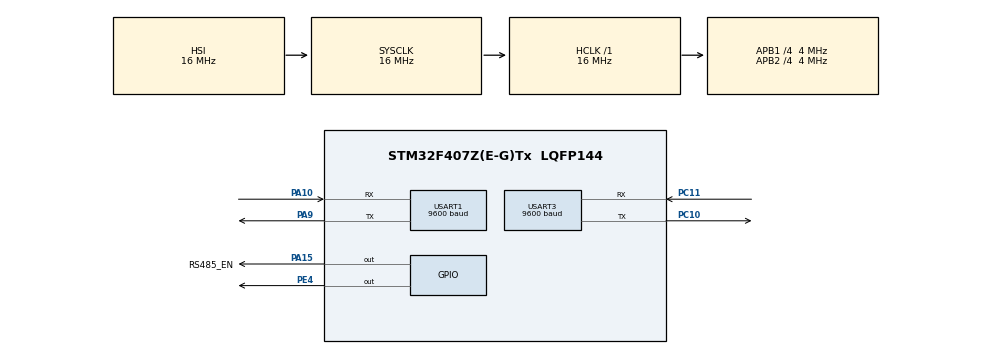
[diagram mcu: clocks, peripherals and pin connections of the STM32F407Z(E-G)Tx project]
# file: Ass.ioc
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Mcu.Family=STM32F4
Mcu.Name=STM32F407Z(E-G)Tx
Mcu.Package=LQFP144
NVIC.PriorityGroup=NVIC_PRIORITYGROUP_4
NVIC.TIM2_IRQn=true\:0\:0\:false\:false\:true\:true\:true\:true
NVIC.USART1_IRQn=true\:0\:0\:false\:false\:true\:true\:true\:true
NVIC.USART3_IRQn=true\:0\:0\:false\:false\:true\:true\:true\:true
PA10.Mode=Asynchronous
PA10.Signal=USART1_RX
PA13.Mode=Serial_Wire
PA13.Signal=SYS_JTMS-SWDIO
PA14.Mode=Serial_Wire
PA14.Signal=SYS_JTCK-SWCLK
PA15.GPIO_Label=RS485_EN
PA15.Signal=GPIO_Output
PA9.Mode=Asynchronous
PA9.Signal=USART1_TX
PC10.Mode=Asynchronous
PC10.Signal=USART3_TX
PC11.Mode=Asynchronous
PC11.Signal=USART3_RX
PE4.Signal=GPIO_Output
PH0-OSC_IN.Mode=HSE-External-Oscillator
PH0-OSC_IN.Signal=RCC_OSC_IN
PH1-OSC_OUT.Mode=HSE-External-Oscillator
PH1-OSC_OUT.Signal=RCC_OSC_OUT
ProjectManager.HeapSize=0x200
ProjectManager.StackSize=0x400
ProjectManager.TargetToolchain=STM32CubeIDE
RCC.AHBFreq_Value=16000000
RCC.APB1CLKDivider=RCC_HCLK_DIV4
RCC.APB1Freq_Value=4000000
RCC.APB1TimFreq_Value=8000000
RCC.APB2CLKDivider=RCC_HCLK_DIV4
RCC.APB2Freq_Value=4000000
RCC.APB2TimFreq_Value=8000000
RCC.CortexFreq_Value=16000000
RCC.HSE_VALUE=8000000
RCC.HSI_VALUE=16000000
RCC.LSE_VALUE=32768
RCC.SYSCLKFreq_VALUE=16000000
RCC.VCOOutputFreq_Value=192000000
TIM2.Period=9
TIM2.Prescaler=7999
USART1.BaudRate=9600
USART1.VirtualMode=VM_ASYNC
USART3.BaudRate=9600
USART3.VirtualMode=VM_ASYNC
VP_TIM2_VS_ClockSourceINT.Mode=Internal
board=custom

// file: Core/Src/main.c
/* USER CODE BEGIN Header */
/**
  ******************************************************************************
  * @file           : main.c
  * @brief          : Main program body
  ******************************************************************************
  * @attention
  *
  * Copyright (c) 2024 STMicroelectronics.
  * All rights reserved.
  *
  * This software is licensed under terms that can be found in the LICENSE file
  * in the root directory of this software component.
  * If no LICENSE file comes with this software, it is provided AS-IS.
  *
  ******************************************************************************
  */
/* USER CODE END Header */
#include "main.h"

/* USER CODE BEGIN Includes */
#include "modbus.h"
/* USER CODE END Includes */

TIM_HandleTypeDef htim2;

UART_HandleTypeDef huart1;
UART_HandleTypeDef huart3;

/* USER CODE BEGIN PV */

  int flagModbus_Send;
  int flagModbus_Receive;
  uint8_t dataSend[8];
  uint8_t dataReceive[9];
  uint8_t dataS[4];
  uint8_t dataR[5];

/* USER CODE END PV */

void SystemClock_Config(void);
static void MX_GPIO_Init(void);
static void MX_USART1_UART_Init(void);
static void MX_USART3_UART_Init(void);
static void MX_TIM2_Init(void);

int main(void)
{

  /* MCU Configuration--------------------------------------------------------*/

  /* Reset of all peripherals, Initializes the Flash interface and the Systick. */
  HAL_Init();

  /* Configure the system clock */
  SystemClock_Config();

  /* Initialize all configured peripherals */
  MX_GPIO_Init();
  MX_USART1_UART_Init();
  MX_USART3_UART_Init();
  MX_TIM2_Init();
  /* USER CODE BEGIN 2 */
  //modbus_tx_data();

  Modbus_Receive(&huart1, dataSend, 8);

  /* USER CODE END 2 */

  /* Infinite loop */
  /* USER CODE BEGIN WHILE */
  HAL_GPIO_WritePin(GPIOE, GPIO_PIN_4, 1);

//  uint8_t data448[8] = {0x01, 0x03, 0, 0, 0, 2, 0xC4, 0xB};
//  HAL_GPIO_WritePin(GPIOA, GPIO_PIN_15, 1);
//  HAL_UART_Transmit(&huart3, data448, 8, 100);
//  HAL_GPIO_WritePin(GPIOA, GPIO_PIN_15, 0);
  while (1)
  {
	  if (flagModbus_Send) {
	  //	  		  HAL_GPIO_TogglePin(GPIOE, GPIO_PIN_4);
	  	  		  //uint8_t * dataS = malloc ((sizeof(dataSend) / sizeof(dataSend[0]) - 4) * sizeof(uint8_t));
	  	  		  for (int idx = 2; idx < sizeof(dataSend)/sizeof(dataSend[0]) - 2; idx++) {
	  	  			  dataS[idx - 2] = dataSend[idx];
	  	  		  }
//	  	  		  Modbus_Transmit(&huart1, dataSend[0], dataSend[1], dataS, (sizeof(dataSend) / sizeof(dataSend[0]) - 4));

	  	  		  HAL_GPIO_WritePin(GPIOA, GPIO_PIN_15, 1);
	  	  		  Modbus_Transmit(&huart3, dataSend[0], dataSend[1], dataS, (sizeof(dataSend) / sizeof(dataSend[0]) - 4));
	  	  		  HAL_GPIO_WritePin(GPIOA, GPIO_PIN_15, 0);

	  	  		  Modbus_Receive(&huart3, dataReceive, 9);
	  	  		  //free (dataS);
	  	  		  flagModbus_Send = 0;
	  	  	  }
	  	  	  if (flagModbus_Receive) {
	  	  		  HAL_GPIO_TogglePin(GPIOE, GPIO_PIN_4);
	  	  		  //uint8_t * dataR = malloc ((sizeof(dataReceive) / sizeof(dataReceive[0]) - 4) * sizeof(uint8_t));
	  	  		  for (int idx = 2; idx < sizeof(dataReceive)/sizeof(dataReceive[0]) - 2; idx++) {
	  	  			  dataR[idx - 2] = dataReceive[idx];
	  	  		  }
	  	  		  Modbus_Transmit(&huart1, dataReceive[0], dataReceive[1], dataR, (sizeof(dataReceive) / sizeof(dataReceive[0]) - 4));
	  	  		  Modbus_Receive(&huart1, dataSend, 8);
	  	  		  //free (dataR);
	  	  		  flagModbus_Receive = 0;
	  	  	  }
    /* USER CODE END WHILE */

  }
}

void SystemClock_Config(void)
{
  RCC_OscInitTypeDef RCC_OscInitStruct = {0};
  RCC_ClkInitTypeDef RCC_ClkInitStruct = {0};

  /** Configure the main internal regulator output voltage
  */
  __HAL_RCC_PWR_CLK_ENABLE();
  __HAL_PWR_VOLTAGESCALING_CONFIG(PWR_REGULATOR_VOLTAGE_SCALE1);

  /** Initializes the RCC Oscillators according to the specified parameters
  * in the RCC_OscInitTypeDef structure.
  */
  RCC_OscInitStruct.OscillatorType = RCC_OSCILLATORTYPE_HSI;
  RCC_OscInitStruct.HSIState = RCC_HSI_ON;
  RCC_OscInitStruct.HSICalibrationValue = RCC_HSICALIBRATION_DEFAULT;
  RCC_OscInitStruct.PLL.PLLState = RCC_PLL_NONE;
  if (HAL_RCC_OscConfig(&RCC_OscInitStruct) != HAL_OK)
  {
    Error_Handler();
  }

  /** Initializes the CPU, AHB and APB buses clocks
  */
  RCC_ClkInitStruct.ClockType = RCC_CLOCKTYPE_HCLK|RCC_CLOCKTYPE_SYSCLK
                              |RCC_CLOCKTYPE_PCLK1|RCC_CLOCKTYPE_PCLK2;
  RCC_ClkInitStruct.SYSCLKSource = RCC_SYSCLKSOURCE_HSI;
  RCC_ClkInitStruct.AHBCLKDivider = RCC_SYSCLK_DIV1;
  RCC_ClkInitStruct.APB1CLKDivider = RCC_HCLK_DIV4;
  RCC_ClkInitStruct.APB2CLKDivider = RCC_HCLK_DIV4;

  if (HAL_RCC_ClockConfig(&RCC_ClkInitStruct, FLASH_LATENCY_0) != HAL_OK)
  {
    Error_Handler();
  }
}

static void MX_TIM2_Init(void)
{

  TIM_ClockConfigTypeDef sClockSourceConfig = {0};
  TIM_MasterConfigTypeDef sMasterConfig = {0};

  htim2.Instance = TIM2;
  htim2.Init.Prescaler = 7999;
  htim2.Init.CounterMode = TIM_COUNTERMODE_UP;
  htim2.Init.Period = 9;
  htim2.Init.ClockDivision = TIM_CLOCKDIVISION_DIV1;
  htim2.Init.AutoReloadPreload = TIM_AUTORELOAD_PRELOAD_DISABLE;
  if (HAL_TIM_Base_Init(&htim2) != HAL_OK)
  {
    Error_Handler();
  }
  sClockSourceConfig.ClockSource = TIM_CLOCKSOURCE_INTERNAL;
  if (HAL_TIM_ConfigClockSource(&htim2, &sClockSourceConfig) != HAL_OK)
  {
    Error_Handler();
  }
  sMasterConfig.MasterOutputTrigger = TIM_TRGO_RESET;
  sMasterConfig.MasterSlaveMode = TIM_MASTERSLAVEMODE_DISABLE;
  if (HAL_TIMEx_MasterConfigSynchronization(&htim2, &sMasterConfig) != HAL_OK)
  {
    Error_Handler();
  }

}

static void MX_USART1_UART_Init(void)
{

  huart1.Instance = USART1;
  huart1.Init.BaudRate = 9600;
  huart1.Init.WordLength = UART_WORDLENGTH_8B;
  huart1.Init.StopBits = UART_STOPBITS_1;
  huart1.Init.Parity = UART_PARITY_NONE;
  huart1.Init.Mode = UART_MODE_TX_RX;
  huart1.Init.HwFlowCtl = UART_HWCONTROL_NONE;
  huart1.Init.OverSampling = UART_OVERSAMPLING_16;
  if (HAL_UART_Init(&huart1) != HAL_OK)
  {
    Error_Handler();
  }

}

static void MX_USART3_UART_Init(void)
{

  huart3.Instance = USART3;
  huart3.Init.BaudRate = 9600;
  huart3.Init.WordLength = UART_WORDLENGTH_8B;
  huart3.Init.StopBits = UART_STOPBITS_1;
  huart3.Init.Parity = UART_PARITY_NONE;
  huart3.Init.Mode = UART_MODE_TX_RX;
  huart3.Init.HwFlowCtl = UART_HWCONTROL_NONE;
  huart3.Init.OverSampling = UART_OVERSAMPLING_16;
  if (HAL_UART_Init(&huart3) != HAL_OK)
  {
    Error_Handler();
  }

}

static void MX_GPIO_Init(void)
{
  GPIO_InitTypeDef GPIO_InitStruct = {0};

  /* GPIO Ports Clock Enable */
  __HAL_RCC_GPIOE_CLK_ENABLE();
  __HAL_RCC_GPIOH_CLK_ENABLE();
  __HAL_RCC_GPIOA_CLK_ENABLE();
  __HAL_RCC_GPIOC_CLK_ENABLE();

  /*Configure GPIO pin Output Level */
  HAL_GPIO_WritePin(GPIOE, GPIO_PIN_4, GPIO_PIN_RESET);

  /*Configure GPIO pin Output Level */
  HAL_GPIO_WritePin(RS485_EN_GPIO_Port, RS485_EN_Pin, GPIO_PIN_RESET);

  /*Configure GPIO pin : PE4 */
  GPIO_InitStruct.Pin = GPIO_PIN_4;
  GPIO_InitStruct.Mode = GPIO_MODE_OUTPUT_PP;
  GPIO_InitStruct.Pull = GPIO_NOPULL;
  GPIO_InitStruct.Speed = GPIO_SPEED_FREQ_LOW;
  HAL_GPIO_Init(GPIOE, &GPIO_InitStruct);

  /*Configure GPIO pin : RS485_EN_Pin */
  GPIO_InitStruct.Pin = RS485_EN_Pin;
  GPIO_InitStruct.Mode = GPIO_MODE_OUTPUT_PP;
  GPIO_InitStruct.Pull = GPIO_NOPULL;
  GPIO_InitStruct.Speed = GPIO_SPEED_FREQ_LOW;
  HAL_GPIO_Init(RS485_EN_GPIO_Port, &GPIO_InitStruct);

}

/* USER CODE BEGIN 4 */
void HAL_UARTEx_RxEventCallback(UART_HandleTypeDef *huart, uint16_t Size) {
	if (huart->Instance == USART1) {
		flagModbus_Send = 1;
	} else if (huart->Instance == USART3) {
		flagModbus_Receive = 1;
	}
}
/* USER CODE END 4 */

void Error_Handler(void)
{
  __disable_irq();
  while (1)
  {
  }
}
